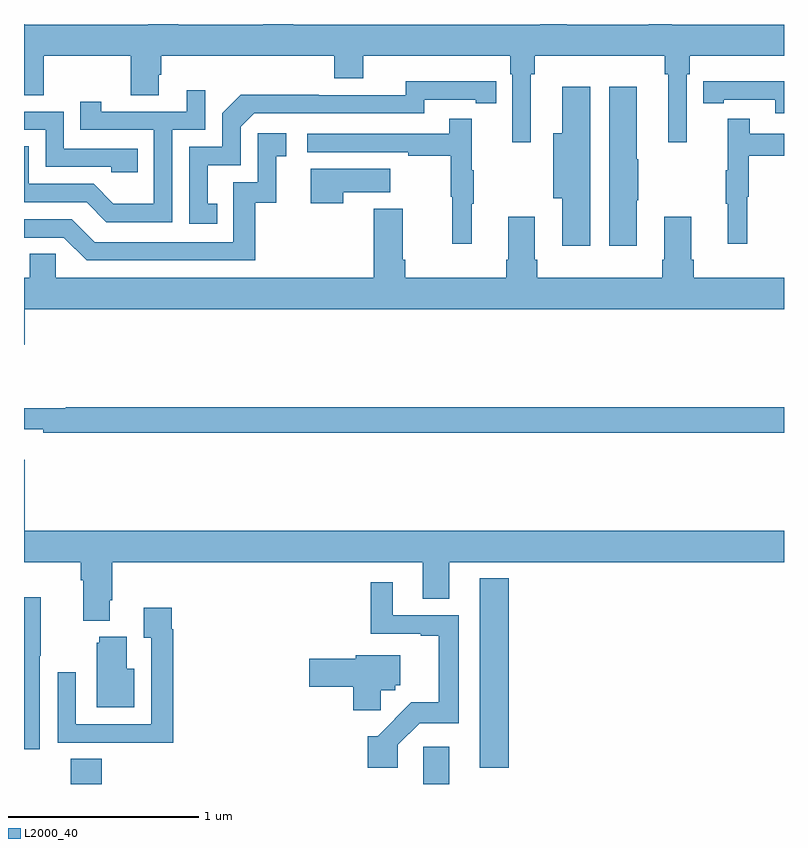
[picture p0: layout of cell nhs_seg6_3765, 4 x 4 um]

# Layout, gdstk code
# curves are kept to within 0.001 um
import gdstk
lib = gdstk.Library(unit=1e-6, precision=1e-09)
def R(c, l, rs):  # rectangles x0, y0, x1, y1
    for r in rs: c.add(gdstk.rectangle(r[:2], r[2:], *l))
def P(c, l, *ps):  # polygons
    for p in ps: c.add(gdstk.Polygon(p, *l))
L2000_40 = (2000, 40)

nhs_seg6_3765 = lib.new_cell('nhs_seg6_3765')
R(nhs_seg6_3765, L2000_40, [(333.245,947.5,333.41,947.633), (335.1,947.5,335.239,947.695), (335.399,947.585,335.552,948.583)])
P(nhs_seg6_3765, L2000_40, [(335.668,951.236),(335.687,951.236),(335.687,951.332),(336.373,951.332),(336.373,951.236),(336.392,951.236),(336.392,950.877),(336.489,950.877),(336.489,951.236),(336.503,951.236),(336.503,951.332),(337,951.332),(337,951.496),(336.409,951.496),(336.409,951.5),(336.287,951.5),(336.287,951.496),(335.857,951.496),(335.857,951.5),(335.717,951.5),(335.717,951.496),(334.418,951.496),(334.418,951.5),(334.258,951.5),(334.258,951.496),(333.813,951.496),(333.813,951.5),(333.653,951.5),(333.653,951.496),(333.004,951.496),(333.004,951.5),(333,951.5),(333,951.124),(333.105,951.124),(333.105,951.332),(333.562,951.332),(333.562,951.124),(333.709,951.124),(333.709,951.234),(333.722,951.234),(333.722,951.332),(334.634,951.332),(334.634,951.215),(334.786,951.215),(334.786,951.332),(335.558,951.332),(335.558,951.236),(335.571,951.236),(335.571,950.877),(335.668,950.877)],
  [(334.016,950.553),(333.967,950.553),(333.967,950.757),(334.14,950.757),(334.14,950.958),(334.212,951.03),(335.106,951.03),(335.106,951.102),(335.378,951.102),(335.378,951.082),(335.486,951.082),(335.486,951.198),(335.01,951.199),(335.01,951.126),(334.55,951.126),(334.55,951.128),(334.142,951.128),(334.044,951.03),(334.044,950.853),(333.87,950.853),(333.87,950.448),(334.016,950.448)],
  [(337,951.199),(336.682,951.199),(336.682,951.198),(336.574,951.198),(336.574,951.082),(336.682,951.082),(336.682,951.102),(336.954,951.102),(336.954,951.03),(337,951.03)],
  [(336.226,950.572),(336.234,950.572),(336.234,950.789),(336.226,950.789),(336.226,951.169),(336.08,951.169),(336.08,950.334),(336.226,950.334)],
  [(335.98,951.169),(335.834,951.169),(335.834,950.926),(335.786,950.926),(335.786,950.582),(335.834,950.582),(335.834,950.334),(335.98,950.334)],
  [(333.78,950.943),(333.954,950.943),(333.954,951.151),(333.857,951.151),(333.857,951.039),(333.406,951.039),(333.406,951.091),(333.295,951.091),(333.295,950.943),(333.684,950.943),(333.684,950.554),(333.47,950.554),(333.366,950.658),(333.024,950.658),(333.024,950.857),(333,950.857),(333,950.562),(333.329,950.562),(333.434,950.457),(333.78,950.457)],
  [(333.599,950.844),(333.21,950.844),(333.21,951.039),(333,951.039),(333,950.943),(333.114,950.943),(333.114,950.748),(333.459,950.748),(333.459,950.721),(333.599,950.721)],
  [(336.806,950.592),(336.814,950.592),(336.814,950.806),(337,950.806),(337,950.922),(336.821,950.922),(336.821,951.001),(336.704,951.001),(336.704,950.729),(336.693,950.729),(336.693,950.555),(336.704,950.555),(336.704,950.343),(336.806,950.343)],
  [(335.357,950.555),(335.368,950.555),(335.368,950.729),(335.357,950.729),(335.357,951.001),(335.239,951.001),(335.239,950.922),(334.491,950.922),(334.491,950.826),(335.023,950.826),(335.023,950.806),(335.247,950.806),(335.247,950.592),(335.254,950.592),(335.254,950.343),(335.357,950.343)],
  [(334.217,950.559),(334.328,950.559),(334.328,950.805),(334.381,950.805),(334.381,950.926),(334.23,950.926),(334.23,950.667),(334.101,950.667),(334.101,950.352),(333.372,950.352),(333.252,950.472),(333,950.472),(333,950.376),(333.21,950.376),(333.33,950.256),(334.217,950.256)],
  [(334.679,950.615),(334.927,950.615),(334.927,950.737),(334.508,950.737),(334.508,950.556),(334.679,950.556)],
  [(333.004,950),(337,950),(337,950.164),(336.524,950.164),(336.524,950.26),(336.511,950.26),(336.511,950.485),(336.371,950.485),(336.371,950.26),(336.359,950.26),(336.359,950.164),(335.702,950.164),(335.702,950.26),(335.689,950.26),(335.689,950.485),(335.549,950.485),(335.549,950.26),(335.537,950.26),(335.537,950.164),(335.006,950.164),(335.006,950.26),(334.993,950.26),(334.993,950.527),(334.841,950.527),(334.841,950.164),(333.168,950.164),(333.168,950.291),(333.029,950.291),(333.029,950.164),(333,950.164),(333,949.812),(333.004,949.812)],
  [(337,949.484),(333.22,949.484),(333.22,949.477),(333,949.477),(333,949.367),(333.1,949.367),(333.1,949.348),(337,949.348)],
  [(333.451,948.466),(333.464,948.466),(333.464,948.668),(335.099,948.668),(335.099,948.474),(335.239,948.474),(335.239,948.668),(337,948.668),(337,948.832),(333.004,948.832),(333.004,949.207),(333,949.207),(333,948.668),(333.299,948.668),(333.299,948.572),(333.311,948.572),(333.311,948.359),(333.451,948.359)],
  [(334.968,947.706),(335.082,947.82),(335.287,947.82),(335.287,948.387),(334.942,948.387),(334.942,948.562),(334.825,948.562),(334.825,948.291),(335.087,948.291),(335.087,948.279),(335.183,948.279),(335.183,947.93),(335.039,947.93),(334.861,947.752),(334.808,947.752),(334.808,947.586),(334.968,947.586)],
  [(333.084,948.175),(333.087,948.175),(333.087,948.482),(333,948.482),(333,947.682),(333.084,947.682)],
  [(333.785,948.314),(333.778,948.314),(333.778,948.427),(333.629,948.427),(333.629,948.271),(333.669,948.271),(333.669,947.814),(333.273,947.814),(333.273,948.088),(333.177,948.088),(333.177,947.718),(333.493,947.718),(333.493,947.717),(333.785,947.717)],
  [(333.58,948.106),(333.541,948.106),(333.541,948.274),(333.395,948.274),(333.395,948.243),(333.383,948.243),(333.383,947.903),(333.58,947.903)],
  [(334.877,947.994),(334.953,947.994),(334.953,948.021),(334.981,948.021),(334.981,948.178),(334.745,948.178),(334.745,948.158),(334.5,948.158),(334.5,948.011),(334.733,948.011),(334.733,947.889),(334.877,947.889)])

lib.write_gds('nhs_seg6_3765.gds')
